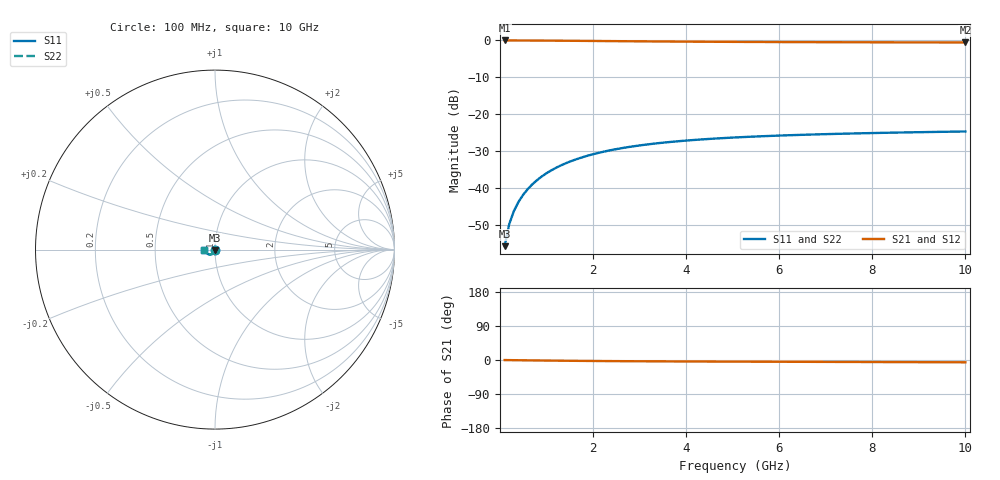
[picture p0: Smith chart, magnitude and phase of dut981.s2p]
! Touchstone file exported from HFSS 2024.1.0
!  File:  C:/UserFiles/LocalFiles/RDL_TSV_Batchsim/temp_TSV1_981_1779952056.aedt
!  Generated:  03:13:06 PM May 28, 2026
!  Design:  TSV1
!  Project:  temp_TSV1_981_1779952056
!  Setup:  Setup1
!  Solution:  Sweep
! Variables:
!  dtsv = 11.41um
!  hbump = 3um
!  htsv = 96.15um
!  lrdl = 252.1521522um
!  p = 40
!  p1 = 51.59um
!  t = 500um
!  trdl = 3um
!  wrdl = 24.89489489um
# GHz S MA R 50.000000
! Terminal data exported
! Port[1] = TSV22_T1
! Port[2] = TSV22_T2
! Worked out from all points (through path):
!   100 points, 100 MHz to 10 GHz, reference 50 ohm
!   highest |S21| = 0.00 dB at 100 MHz (marker M1); lowest = -0.5 dB at 10 GHz (marker M2)
!   lowest |S11| = -55.6 dB at 100 MHz (marker M3), VSWR 1.00, Z = 50 - j0.166 ohm
!   |S11| at or under -10 dB: start of sweep to end of sweep
!   |S22| runs from -55.6 to -24.6 dB; largest |S21 - S12| = 4.6e-15
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0.1  0.00166 -87.4  0.9998 -0.2  0.9998 -0.2  0.00166 -87.4
! Gamma 0 0 0 0
! Port Impedance 50 0 50 0
0.2  0.003312 -91.3  0.9996 -0.3  0.9996 -0.3  0.003312 -91.3
0.3  0.004963 -93.7  0.9994 -0.5  0.9994 -0.5  0.004963 -93.7
0.4  0.006607 -95.8  0.999 -0.6  0.999 -0.6  0.006607 -95.8
0.5  0.008239 -97.8  0.9985 -0.8  0.9985 -0.8  0.008239 -97.8
0.6  0.009852 -99.7  0.998 -0.9  0.998 -0.9  0.009852 -99.7
0.7  0.01144 -101.6  0.9973 -1.1  0.9973 -1.1  0.01144 -101.6
0.8  0.01301 -103.4  0.9966 -1.2  0.9966 -1.2  0.01301 -103.4
0.9  0.01454 -105.2  0.9958 -1.3  0.9958 -1.3  0.01454 -105.2
1.1  0.01752 -108.6  0.9941 -1.6  0.9941 -1.6  0.01752 -108.6
1.4  0.0217 -113.6  0.9911 -2.0  0.9911 -2.0  0.0217 -113.6
1.6  0.0243 -116.7  0.9889 -2.2  0.9889 -2.2  0.0243 -116.7
1.8  0.02673 -119.7  0.9866 -2.4  0.9866 -2.4  0.02673 -119.7
2.1  0.03007 -123.9  0.9832 -2.7  0.9832 -2.7  0.03007 -123.9
2.5  0.034 -129.1  0.9786 -3.0  0.9786 -3.0  0.034 -129.1
2.9  0.03737 -133.7  0.9742 -3.3  0.9742 -3.3  0.03736 -133.7
3.4  0.0409 -139.0  0.9693 -3.5  0.9693 -3.5  0.0409 -139.0
4.2  0.04534 -146.2  0.9625 -3.9  0.9625 -3.9  0.04534 -146.2
5.1  0.04904 -152.9  0.9564 -4.3  0.9564 -4.3  0.04904 -152.9
6.7  0.05354 -162.4  0.9486 -4.9  0.9486 -4.9  0.05354 -162.4
8.4  0.0567 -170.3  0.9433 -5.5  0.9433 -5.5  0.0567 -170.3
10  0.05887 -176.5  0.9398 -6.1  0.9398 -6.1  0.05887 -176.5
